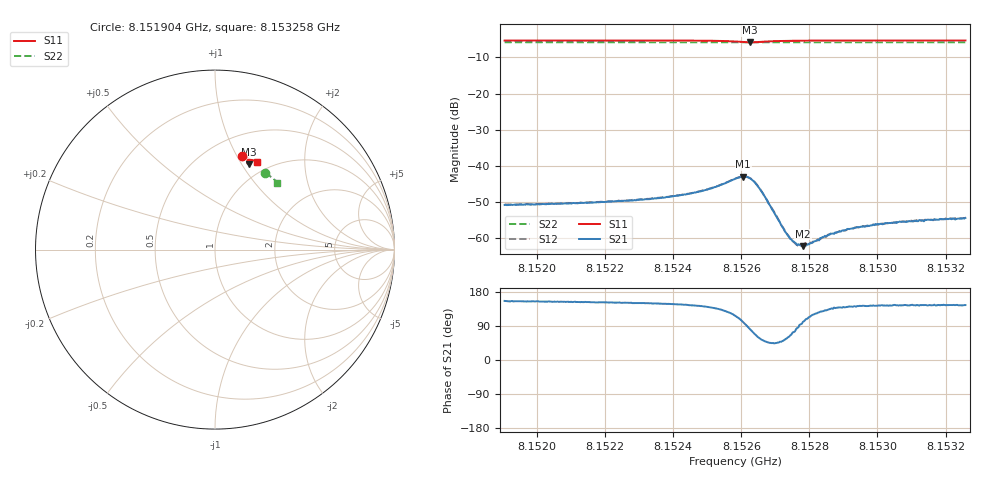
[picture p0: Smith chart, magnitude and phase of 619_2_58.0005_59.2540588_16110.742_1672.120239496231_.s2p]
#  HZ  S  RI  R  50.00
! Rohde & Schwarz Vector Network Analyzer
! Rohde-Schwarz,ZNB20-2Port,1311601062101988,3.16
! Created: UTC 3/21/2024, 1:18:03 AM
! freq[Hz]  re:S11  im:S11  re:S21  im:S21  re:S12  im:S12  re:S22  im:S22
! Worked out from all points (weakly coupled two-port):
!   401 points, 8.151904 GHz to 8.153258 GHz, reference 50 ohm
!   highest |S21| = -42.95 dB at 8.152605 GHz (marker M1); lowest = -62.1 dB at 8.152781 GHz (marker M2)
!   lowest |S11| = -5.8 dB at 8.152625 GHz (marker M3), VSWR 3.09, Z = 41.7 + j53.6 ohm
!   |S11| at or under -10 dB: nowhere
!   |S22| runs from -5.8 to -5.8 dB; largest |S21 - S12| = 0.00013
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8.1519044e9  0.1508 0.5188  -0.00264 0.00118  -0.00266 0.00124  0.2813 0.4279
8.1521312e9  0.167 0.5141  -0.00276 0.00139  -0.00274 0.00146  0.2932 0.4196
8.152358e9  0.1842 0.5078  -0.00306 0.00186  -0.00309 0.00192  0.3049 0.4107
8.1524392e9  0.1912 0.5043  -0.00336 0.00229  -0.00334 0.00239  0.309 0.4076
8.1524866e9  0.196 0.501  -0.00358 0.00283  -0.00358 0.00289  0.3115 0.4055
8.152534e9  0.2008 0.4954  -0.00373 0.0038  -0.0037 0.0039  0.3136 0.4034
8.1525814e9  0.2026 0.4838  -0.00301 0.00588  -0.00296 0.00594  0.3159 0.4011
8.1526051e9  0.1967 0.4762  -0.00128 0.007  -0.00125 0.00703  0.3166 0.3999
8.1526254e9  0.1867 0.4752  0.00103 0.00668  0.00109 0.0067  0.3172 0.3993
8.1526389e9  0.1809 0.4792  0.00217 0.00557  0.00224 0.00559  0.3176 0.3991
8.1526559e9  0.1781 0.4863  0.00263 0.00388  0.00272 0.00391  0.3185 0.3987
8.1527236e9  0.1884 0.5  0.000863 0.00107  0.000882 0.00107  0.3222 0.3964
8.1527439e9  0.1917 0.5008  0.000414 0.000898  0.000448 0.000876  0.3233 0.3956
8.1527608e9  0.1941 0.501  0.000124 0.000839  0.000128 0.000815  0.3242 0.3949
8.1527709e9  0.1954 0.501  -3.77e-05 0.000814  -3.62e-06 0.000806  0.3248 0.3945
8.1527811e9  0.1967 0.501  -0.000146 0.000774  -0.000101 0.000789  0.3253 0.3941
8.1528082e9  0.1997 0.5008  -0.000419 0.000763  -0.000395 0.000768  0.3266 0.3931
8.1528589e9  0.2049 0.4997  -0.000786 0.000811  -0.000771 0.000832  0.329 0.3907
8.1529165e9  0.2098 0.4984  -0.00105 0.00084  -0.00103 0.000869  0.3319 0.3883
8.153035e9  0.2188 0.4951  -0.00132 0.000962  -0.00131 0.000975  0.3375 0.3832
8.1531162e9  0.2247 0.4929  -0.00142 0.00099  -0.00147 0.00103  0.3413 0.3798
8.1532584e9  0.2342 0.4888  -0.00157 0.0011  -0.00152 0.0011  0.3478 0.3735
